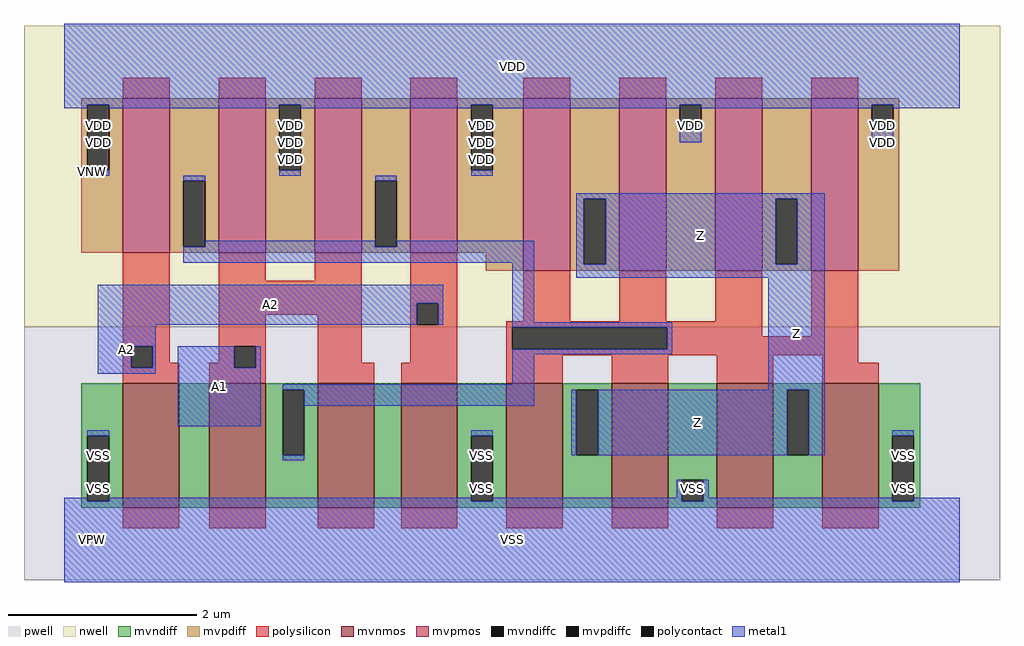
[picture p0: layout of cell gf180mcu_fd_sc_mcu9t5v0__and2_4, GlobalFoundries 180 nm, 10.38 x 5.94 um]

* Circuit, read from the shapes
.subckt gf180mcu_fd_sc_mcu9t5v0__and2_4 A1 A2 Z VDD VNW VPW VSS
XM1 n1 A2 VSS VPW nfet_06v0 w=1.32u l=0.6u
XM2 n2 A1 n1 VPW nfet_06v0 w=1.32u l=0.6u
XM3 n3 A1 n2 VPW nfet_06v0 w=1.32u l=0.6u
XM4 VSS A2 n3 VPW nfet_06v0 w=1.32u l=0.6u
XM5 Z n2 VSS VPW nfet_06v0 w=1.32u l=0.6u m=4
XM6 n2 A2 VDD VNW pfet_06v0 w=1.64u l=0.5u m=2
XM7 VDD A1 n2 VNW pfet_06v0 w=1.64u l=0.5u m=2
XM8 Z n2 VDD VNW pfet_06v0 w=1.83u l=0.5u m=4
.ends

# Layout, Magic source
magic
tech gf180mcuD
magscale 1 10
<< nwell >>
rect -86 453 1990 1094
<< pwell >>
rect -86 -86 1990 453
<< mvnmos >>
rect 124 69 244 333
rect 308 69 428 333
rect 539 69 659 333
rect 716 69 836 333
rect 940 69 1060 333
rect 1164 69 1284 333
rect 1388 69 1508 333
rect 1612 69 1732 333
<< mvpmos >>
rect 124 611 224 939
rect 328 611 428 939
rect 532 611 632 939
rect 736 611 836 939
rect 976 573 1076 939
rect 1180 573 1280 939
rect 1384 573 1484 939
rect 1588 573 1688 939
<< mvndiff >>
rect 36 222 124 333
rect 36 82 49 222
rect 95 82 124 222
rect 36 69 124 82
rect 244 69 308 333
rect 428 320 539 333
rect 428 180 464 320
rect 510 180 539 320
rect 428 69 539 180
rect 659 69 716 333
rect 836 222 940 333
rect 836 82 865 222
rect 911 82 940 222
rect 836 69 940 82
rect 1060 320 1164 333
rect 1060 180 1089 320
rect 1135 180 1164 320
rect 1060 69 1164 180
rect 1284 128 1388 333
rect 1284 82 1313 128
rect 1359 82 1388 128
rect 1284 69 1388 82
rect 1508 320 1612 333
rect 1508 180 1537 320
rect 1583 180 1612 320
rect 1508 69 1612 180
rect 1732 222 1820 333
rect 1732 82 1761 222
rect 1807 82 1820 222
rect 1732 69 1820 82
<< mvpdiff >>
rect 36 926 124 939
rect 36 786 49 926
rect 95 786 124 926
rect 36 611 124 786
rect 224 764 328 939
rect 224 624 253 764
rect 299 624 328 764
rect 224 611 328 624
rect 428 926 532 939
rect 428 786 457 926
rect 503 786 532 926
rect 428 611 532 786
rect 632 764 736 939
rect 632 624 661 764
rect 707 624 736 764
rect 632 611 736 624
rect 836 926 976 939
rect 836 786 865 926
rect 911 786 976 926
rect 836 611 976 786
rect 896 573 976 611
rect 1076 726 1180 939
rect 1076 586 1105 726
rect 1151 586 1180 726
rect 1076 573 1180 586
rect 1280 926 1384 939
rect 1280 880 1309 926
rect 1355 880 1384 926
rect 1280 573 1384 880
rect 1484 726 1588 939
rect 1484 586 1513 726
rect 1559 586 1588 726
rect 1484 573 1588 586
rect 1688 926 1776 939
rect 1688 880 1717 926
rect 1763 880 1776 926
rect 1688 573 1776 880
<< mvndiffc >>
rect 49 82 95 222
rect 464 180 510 320
rect 865 82 911 222
rect 1089 180 1135 320
rect 1313 82 1359 128
rect 1537 180 1583 320
rect 1761 82 1807 222
<< mvpdiffc >>
rect 49 786 95 926
rect 253 624 299 764
rect 457 786 503 926
rect 661 624 707 764
rect 865 786 911 926
rect 1105 586 1151 726
rect 1309 880 1355 926
rect 1513 586 1559 726
rect 1717 880 1763 926
<< polysilicon >>
rect 124 939 224 983
rect 328 939 428 983
rect 532 939 632 983
rect 736 939 836 983
rect 976 939 1076 983
rect 1180 939 1280 983
rect 1384 939 1484 983
rect 1588 939 1688 983
rect 124 412 224 611
rect 124 366 142 412
rect 188 377 224 412
rect 328 551 428 611
rect 532 551 632 611
rect 328 479 632 551
rect 328 412 428 479
rect 328 377 361 412
rect 188 366 244 377
rect 124 333 244 366
rect 308 366 361 377
rect 407 366 428 412
rect 308 333 428 366
rect 539 377 632 479
rect 736 504 836 611
rect 736 458 749 504
rect 795 458 836 504
rect 976 465 1076 573
rect 1180 465 1280 573
rect 1384 465 1484 573
rect 736 377 836 458
rect 539 333 659 377
rect 716 333 836 377
rect 940 452 1484 465
rect 940 406 953 452
rect 1282 433 1484 452
rect 1588 433 1688 573
rect 1282 406 1688 433
rect 940 393 1688 406
rect 940 333 1060 393
rect 1164 333 1284 393
rect 1388 333 1508 393
rect 1612 377 1688 393
rect 1612 333 1732 377
rect 124 25 244 69
rect 308 25 428 69
rect 539 25 659 69
rect 716 25 836 69
rect 940 25 1060 69
rect 1164 25 1284 69
rect 1388 25 1508 69
rect 1612 25 1732 69
<< polycontact >>
rect 142 366 188 412
rect 361 366 407 412
rect 749 458 795 504
rect 953 406 1282 452
<< metal1 >>
rect 0 926 1904 1098
rect 0 918 49 926
rect 95 918 457 926
rect 49 775 95 786
rect 503 918 865 926
rect 457 775 503 786
rect 911 918 1309 926
rect 1355 918 1717 926
rect 1309 846 1355 880
rect 1763 918 1904 926
rect 1717 845 1763 880
rect 865 775 911 786
rect 253 764 299 775
rect 661 764 707 775
rect 299 624 661 636
rect 1089 726 1617 737
rect 707 624 999 636
rect 253 590 999 624
rect 71 504 806 543
rect 71 458 749 504
rect 795 458 806 504
rect 953 463 999 590
rect 1089 586 1105 726
rect 1151 586 1513 726
rect 1559 586 1617 726
rect 1089 558 1617 586
rect 71 412 194 458
rect 953 452 1293 463
rect 71 366 142 412
rect 188 366 194 412
rect 71 354 194 366
rect 241 366 361 412
rect 407 366 418 412
rect 241 242 418 366
rect 1282 406 1293 452
rect 953 395 1293 406
rect 953 331 999 395
rect 464 320 999 331
rect 1497 320 1617 558
rect 49 222 95 233
rect 0 82 49 90
rect 510 285 999 320
rect 464 169 510 180
rect 865 222 911 233
rect 95 82 865 90
rect 1078 180 1089 320
rect 1135 180 1537 320
rect 1583 180 1617 320
rect 1761 222 1807 233
rect 1302 90 1313 128
rect 911 82 1313 90
rect 1359 90 1370 128
rect 1359 82 1761 90
rect 1807 82 1904 90
rect 0 -90 1904 82
<< labels >>
flabel metal1 s 241 242 418 412 0 FreeSans 200 0 0 0 A1
port 1 nsew default input
flabel metal1 s 71 458 806 543 0 FreeSans 200 0 0 0 A2
port 2 nsew default input
flabel metal1 s 0 918 1904 1098 0 FreeSans 200 0 0 0 VDD
port 4 nsew power bidirectional abutment
flabel metal1 s 1761 128 1807 233 0 FreeSans 200 0 0 0 VSS
port 7 nsew ground bidirectional abutment
flabel metal1 s 1089 558 1617 737 0 FreeSans 200 0 0 0 Z
port 3 nsew default output
flabel nwell s 10 734 110 834 0 FreeSans 400 0 0 0 VNW
port 5 nsew power bidirectional
flabel pwell s 10 -50 110 50 0 FreeSans 400 0 0 0 VPW
port 6 nsew ground bidirectional
rlabel metal1 s 71 354 194 458 1 A2
port 2 nsew default input
rlabel metal1 s 1497 320 1617 558 1 Z
port 3 nsew default output
rlabel metal1 s 1078 180 1617 320 1 Z
port 3 nsew default output
rlabel metal1 s 1717 846 1763 918 1 VDD
port 4 nsew power bidirectional abutment
rlabel metal1 s 1309 846 1355 918 1 VDD
port 4 nsew power bidirectional abutment
rlabel metal1 s 865 846 911 918 1 VDD
port 4 nsew power bidirectional abutment
rlabel metal1 s 457 846 503 918 1 VDD
port 4 nsew power bidirectional abutment
rlabel metal1 s 49 846 95 918 1 VDD
port 4 nsew power bidirectional abutment
rlabel metal1 s 1717 845 1763 846 1 VDD
port 4 nsew power bidirectional abutment
rlabel metal1 s 865 845 911 846 1 VDD
port 4 nsew power bidirectional abutment
rlabel metal1 s 457 845 503 846 1 VDD
port 4 nsew power bidirectional abutment
rlabel metal1 s 49 845 95 846 1 VDD
port 4 nsew power bidirectional abutment
rlabel metal1 s 865 775 911 845 1 VDD
port 4 nsew power bidirectional abutment
rlabel metal1 s 457 775 503 845 1 VDD
port 4 nsew power bidirectional abutment
rlabel metal1 s 49 775 95 845 1 VDD
port 4 nsew power bidirectional abutment
rlabel metal1 s 865 128 911 233 1 VSS
port 7 nsew ground bidirectional abutment
rlabel metal1 s 49 128 95 233 1 VSS
port 7 nsew ground bidirectional abutment
rlabel metal1 s 1761 90 1807 128 1 VSS
port 7 nsew ground bidirectional abutment
rlabel metal1 s 1302 90 1370 128 1 VSS
port 7 nsew ground bidirectional abutment
rlabel metal1 s 865 90 911 128 1 VSS
port 7 nsew ground bidirectional abutment
rlabel metal1 s 49 90 95 128 1 VSS
port 7 nsew ground bidirectional abutment
rlabel metal1 s 0 -90 1904 90 1 VSS
port 7 nsew ground bidirectional abutment
<< properties >>
string FIXED_BBOX 0 0 1904 1008
string GDS_END 1136976
string GDS_FILE $PDKPATH/libs.ref/gf180mcu_fd_sc_mcu9t5v0/gds/gf180mcu_fd_sc_mcu9t5v0.gds
string GDS_START 1131852
string LEFclass core
string LEFsite GF018hv5v_green_sc9
string LEFsymmetry X Y
<< end >>
